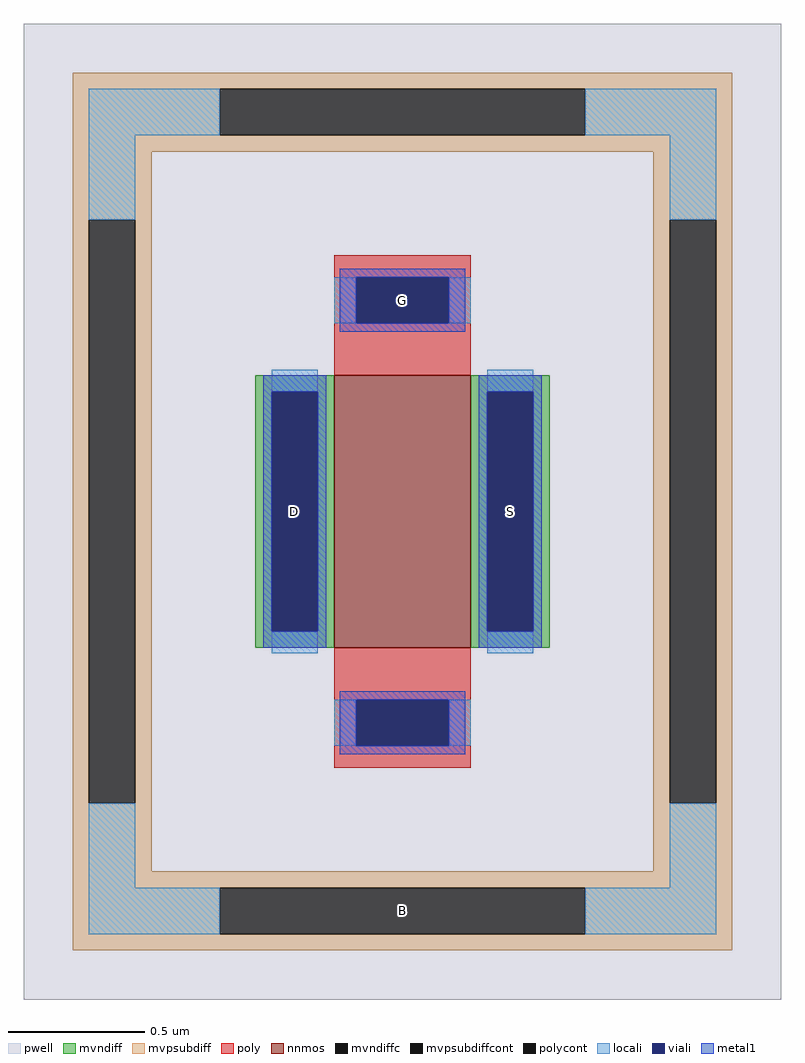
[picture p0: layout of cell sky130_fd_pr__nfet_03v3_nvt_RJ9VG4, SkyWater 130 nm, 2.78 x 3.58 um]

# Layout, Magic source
magic
tech sky130A
magscale 1 2
<< pwell >>
rect -278 -358 278 358
<< nnmos >>
rect -50 -100 50 100
<< mvndiff >>
rect -108 88 -50 100
rect -108 -88 -96 88
rect -62 -88 -50 88
rect -108 -100 -50 -88
rect 50 88 108 100
rect 50 -88 62 88
rect 96 -88 108 88
rect 50 -100 108 -88
<< mvndiffc >>
rect -96 -88 -62 88
rect 62 -88 96 88
<< mvpsubdiff >>
rect -242 310 242 322
rect -242 276 -134 310
rect 134 276 242 310
rect -242 264 242 276
rect -242 214 -184 264
rect -242 -214 -230 214
rect -196 -214 -184 214
rect 184 214 242 264
rect -242 -264 -184 -214
rect 184 -214 196 214
rect 230 -214 242 214
rect 184 -264 242 -214
rect -242 -276 242 -264
rect -242 -310 -134 -276
rect 134 -310 242 -276
rect -242 -322 242 -310
<< mvpsubdiffcont >>
rect -134 276 134 310
rect -230 -214 -196 214
rect 196 -214 230 214
rect -134 -310 134 -276
<< poly >>
rect -50 172 50 188
rect -50 138 -34 172
rect 34 138 50 172
rect -50 100 50 138
rect -50 -138 50 -100
rect -50 -172 -34 -138
rect 34 -172 50 -138
rect -50 -188 50 -172
<< polycont >>
rect -34 138 34 172
rect -34 -172 34 -138
<< locali >>
rect -230 276 -134 310
rect 134 276 230 310
rect -230 214 -196 276
rect 196 214 230 276
rect -50 138 -34 172
rect 34 138 50 172
rect -96 88 -62 104
rect -96 -104 -62 -88
rect 62 88 96 104
rect 62 -104 96 -88
rect -50 -172 -34 -138
rect 34 -172 50 -138
rect -230 -276 -196 -214
rect 196 -276 230 -214
rect -230 -310 -134 -276
rect 134 -310 230 -276
<< viali >>
rect -34 138 34 172
rect -96 -88 -62 88
rect 62 -88 96 88
rect -34 -172 34 -138
<< metal1 >>
rect -46 172 46 178
rect -46 138 -34 172
rect 34 138 46 172
rect -46 132 46 138
rect -102 88 -56 100
rect -102 -88 -96 88
rect -62 -88 -56 88
rect -102 -100 -56 -88
rect 56 88 102 100
rect 56 -88 62 88
rect 96 -88 102 88
rect 56 -100 102 -88
rect -46 -138 46 -132
rect -46 -172 -34 -138
rect 34 -172 46 -138
rect -46 -178 46 -172
<< labels >>
rlabel mvpsubdiffcont 0 -293 0 -293 0 B
port 1 nsew
rlabel mvndiffc -79 0 -79 0 0 D
port 2 nsew
rlabel mvndiffc 79 0 79 0 0 S
port 3 nsew
rlabel polycont 0 155 0 155 0 G
port 4 nsew
<< properties >>
string FIXED_BBOX -213 -293 213 293
string gencell sky130_fd_pr__nfet_03v3_nvt
string library sky130
string parameters w 1.0 l 0.5 m 1 nf 1 diffcov 100 polycov 100 guard 1 glc 1 grc 1 gtc 1 gbc 1 tbcov 100 rlcov 100 topc 1 botc 1 poverlap 0 doverlap 1 lmin 0.50 wmin 0.42 class mosfet compatible {sky130_fd_pr__nfet_01v8 sky130_fd_pr__nfet_01v8_lvt  sky130_fd_bs_flash__special_sonosfet_star  sky130_fd_pr__nfet_g5v0d10v5 sky130_fd_pr__nfet_05v0_nvt  sky130_fd_pr__nfet_03v3_nvt} full_metal 1 conn_gates 0 viasrc 100 viadrn 100 viagate 100 viagb 0 viagr 0 viagl 0 viagt 0 doports 1
<< end >>
